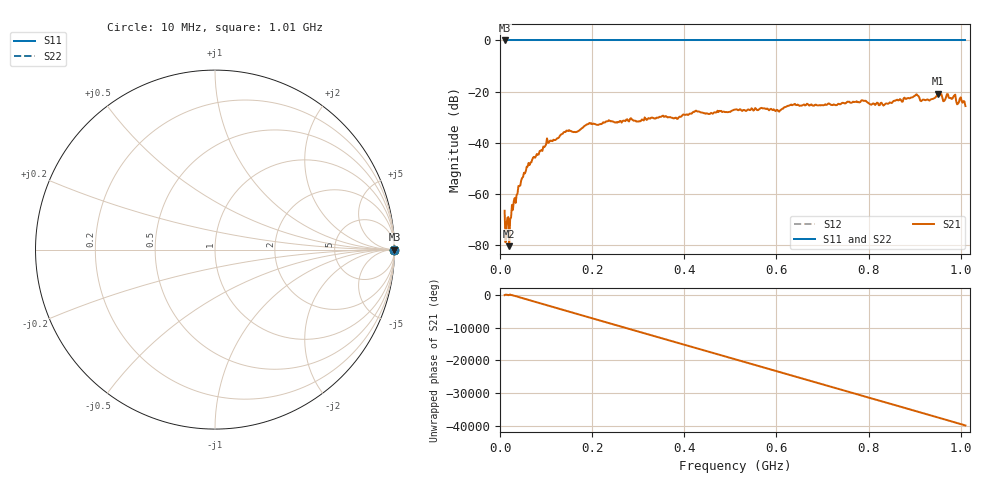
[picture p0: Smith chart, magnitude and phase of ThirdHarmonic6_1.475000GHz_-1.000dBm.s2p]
! 8/16/2025 5:13:03 PM
! C:\ANRITSUVNA\TEMP\TEMP.S2P
! CHANNEL.1
! TR.MEASUREMENT
! RAW.DATA
! RF.CORRECTION.OFF
! AVERAGING.OFF
! IF.BANDWIDTH: 5KHZ
! SWEEPTYPE:  FREQ.SWEEP(Linear)
! Reference Plane Port Info
! PORT:  PORT1  PORT2
! DISTANCE:  0  m  0  m
! TIME:  0  s  0  s
! PHASE.OFFSET:  0  deg.  0  deg.
! LOSS:  0  dB  0  dB
! REF.LOSS:  0  dB  0  dB
! REF.FREQ:  0  Hz  0  Hz
! Power Info
! POWER:  -20  dBm  -20  dBm
! EFF.POWER:  -20  dBm  -20  dBm
! SOURCE.ATTEN:  0  dB  0  dB
! TEST.ATTEN:  0  dB  0  dB
# GHZ S RI R 50.0
! FREQ.GHZ  S11RE  S11IM  S21RE  S21IM  S12RE  S12IM  S22RE  S22IM
!; PortSelection: Port_12
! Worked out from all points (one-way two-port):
!   501 points, 10 MHz to 1.01 GHz, reference 50 ohm
!   highest |S21| = -20.74 dB at 950 MHz (marker M1); lowest = -80.4 dB at 20 MHz (marker M2)
!   lowest |S11| = 0.0 dB at 10 MHz (marker M3)
!   |S11| at or under -10 dB: nowhere
!   |S22| runs from 0.0 to 0.0 dB; largest |S21 - S12| = 1.1
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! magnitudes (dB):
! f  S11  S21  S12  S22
! 10 MHz  0.0  -66.5  0.0  0.0
! 14 MHz  0.0  -72.1  0.0  0.0
! 16 MHz  0.0  -69.3  0.0  0.0
! 20 MHz  0.0  -80.4  0.0  0.0
! 24 MHz  0.0  -69.1  0.0  0.0
! 28 MHz  0.0  -66.2  0.0  0.0
! 44 MHz  0.0  -56.7  0.0  0.0
! 70 MHz  0.0  -46.5  0.0  0.0
! 106 MHz  0.0  -39.9  0.0  0.0
! 178 MHz  0.0  -34.2  0.0  0.0
! 194 MHz  0.0  -32.2  0.0  0.0
! 344 MHz  0.0  -30.1  0.0  0.0
! 510 MHz  0.0  -27.0  0.0  0.0
! 602 MHz  0.0  -27.1  0.0  0.0
! 636 MHz  0.0  -25.1  0.0  0.0
! 678 MHz  0.0  -25.4  0.0  0.0
! 844 MHz  0.0  -24.5  0.0  0.0
! 902 MHz  0.0  -21.3  0.0  0.0
! 916 MHz  0.0  -23.4  0.0  0.0
! 950 MHz  0.0  -20.7  0.0  0.0
! 984 MHz  0.0  -21.9  0.0  0.0
! 1.01 GHz  0.0  -25.6  0.0  0.0
